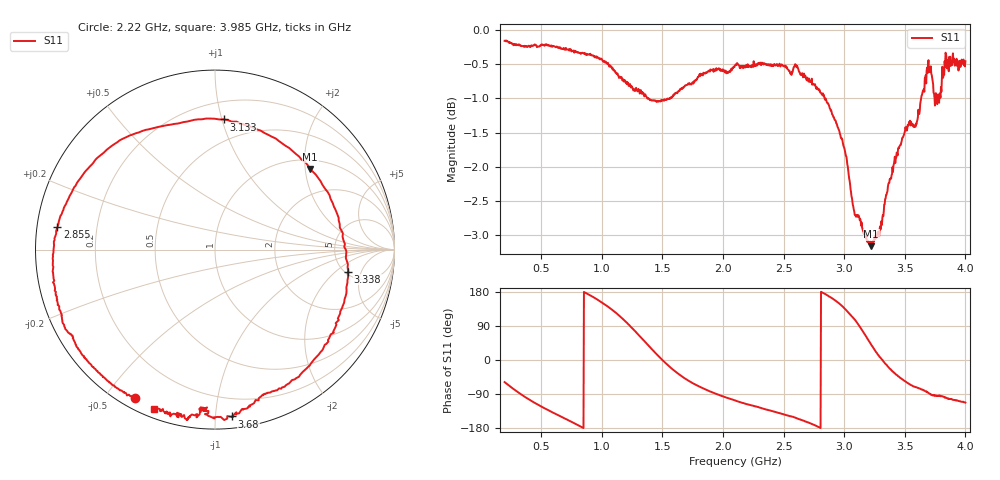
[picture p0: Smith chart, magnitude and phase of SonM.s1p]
# MHz S MA R 50
!  freq  S11
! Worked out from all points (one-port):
!   1000 points, 200 MHz to 4 GHz, reference 50 ohm
!   lowest |S11| = -3.2 dB at 3.224 GHz (marker M1), VSWR 5.55, Z = 61.2 + j106 ohm
!   |S11| at or under -10 dB: nowhere
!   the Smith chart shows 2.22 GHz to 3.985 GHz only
!   S11 on the Smith chart (normalised r, x): 2.22 GHz: 0.04, -0.60; 2.855 GHz: 0.06, +0.07; 3.133 GHz: 0.33, +1.01; 3.338 GHz: 5.32, -3.01; 3.68 GHz: 0.08, -1.11; 3.985 GHz: 0.04, -0.69
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200  0.9823 -58.3
298.899  0.9767 -82.5
401.602  0.9739 -104.2
530.931  0.9759 -127.5
675.475  0.9687 -151.0
816.216  0.9622 -173.8
941.742  0.9567 164.0
1048.248  0.9445 141.7
1150.951  0.9245 115.4
1287.888  0.9048 72.1
1421.021  0.8882 26.3
1512.312  0.8894 -3.5
1626.426  0.9006 -35.0
1824.224  0.9286 -72.9
2101.902  0.9426 -106.7
2219.82  0.9407 -118.4
2577.377  0.9343 -149.8
2855.055  0.8866 171.9
2965.365  0.8393 147.5
3052.853  0.7648 118.8
3132.733  0.7271 86.2
3224.024  0.6946 40.3
3338.138  0.7522 -9.4
3429.429  0.8062 -38.7
3528.328  0.8515 -61.5
3680.48  0.9343 -84.1
3984.785  0.9517 -111.0
4000  0.949 -112.4
